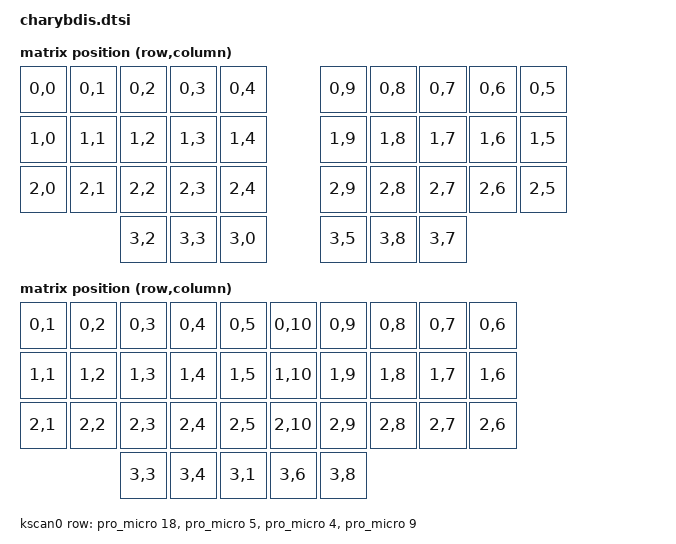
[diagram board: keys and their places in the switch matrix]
#include <dt-bindings/zmk/matrix_transform.h>

/ {
    chosen {
        zmk,kscan = &kscan0;
        zmk,matrix_transform = &default_transform;
    };

    default_transform: keymap_transform_0 {
        compatible = "zmk,matrix-transform";
        columns = <10>;
        rows = <4>;

        map = <
	RC(0,0) RC(0,1) RC(0,2) RC(0,3) RC(0,4)  RC(0,9) RC(0,8) RC(0,7) RC(0,6) RC(0,5)
	RC(1,0) RC(1,1) RC(1,2) RC(1,3) RC(1,4)  RC(1,9) RC(1,8) RC(1,7) RC(1,6) RC(1,5)
	RC(2,0) RC(2,1) RC(2,2) RC(2,3) RC(2,4)  RC(2,9) RC(2,8) RC(2,7) RC(2,6) RC(2,5)
					RC(3,2) RC(3,3) RC(3,0)  RC(3,5) RC(3,8) RC(3,7)
        >;
    };


    five_column_transform: keymap_transform_1 {
        compatible = "zmk,matrix-transform";
        columns = <10>;
        rows = <4>;

        map = <
	RC(0,1) RC(0,2) RC(0,3) RC(0,4) RC(0,5)  RC(0,10) RC(0,9) RC(0,8) RC(0,7) RC(0,6)
	RC(1,1) RC(1,2) RC(1,3) RC(1,4) RC(1,5)  RC(1,10) RC(1,9) RC(1,8) RC(1,7) RC(1,6)
	RC(2,1) RC(2,2) RC(2,3) RC(2,4) RC(2,5)  RC(2,10) RC(2,9) RC(2,8) RC(2,7) RC(2,6)
					RC(3,3) RC(3,4) RC(3,1)  RC(3,6)  RC(3,8)
        >;
    };
	

	
	// -----------------------------------------------------------------------------------------
	// PCB			MCU			Label		Pin
	// C3			C3			009			10
	// X			R1			031			21
	// C2	  		C2			029			20
	// X			C1			002			19
	// R1			R2			115			18
	// 
	// R3			R4			022			4
	// R2			R3			024			5
	// C4			C4			100			6
	// C5			C5			011			7
	// C6			C6			104			8
	// R4			R5			106			9
	// -----------------------------------------------------------------------------------------
    kscan0: kscan {
        compatible = "zmk,kscan-gpio-matrix";
        label = "KSCAN";

        diode-direction = "row2col";
		row-gpios
			= <&pro_micro 18 GPIO_ACTIVE_HIGH>
			, <&pro_micro 5 GPIO_ACTIVE_HIGH>
			, <&pro_micro 4 GPIO_ACTIVE_HIGH>
			, <&pro_micro 9 GPIO_ACTIVE_HIGH>
            ;
    };

	trackballs {
		compatible = "zmk,keymap-trackballs";
		trackballs = <&trackball>;
	};
};


&pinctrl {
    spi0_default: spi0_default {
        group1 {
            psels = <NRF_PSEL(SPIM_SCK, 0, 2)>,
                <NRF_PSEL(SPIM_MOSI, 0, 17)>,
                <NRF_PSEL(SPIM_MISO, 0, 17)>;
        };
    };

    spi0_sleep: spi0_sleep {
        group1 {
            psels = <NRF_PSEL(SPIM_SCK, 0, 2)>,
                <NRF_PSEL(SPIM_MOSI, 0, 17)>,
                <NRF_PSEL(SPIM_MISO, 0, 17)>;
            low-power-enable;
        };
    };
};

&spi0 {
    status = "okay";
    compatible = "nordic,nrf-spim";
    pinctrl-0 = <&spi0_default>;
    pinctrl-1 = <&spi0_sleep>;
    pinctrl-names = "default", "sleep";
    cs-gpios = <&gpio0 20 GPIO_ACTIVE_LOW>;

    trackball: trackball@0 {
        status = "okay";
        compatible = "pixart,pmw3610";
        reg = <0>;
        spi-max-frequency = <2000000>;
        irq-gpios = <&gpio0 6 (GPIO_ACTIVE_LOW | GPIO_PULL_UP)>;

        /*   optional features   */
        // snipe-layers = <1>;
        // scroll-layers = <2 3>;
        // automouse-layer = <4>;
    };
};

/ {
  trackball_listener {
    compatible = "zmk,input-listener";
    device = <&trackball>;

  };
};

